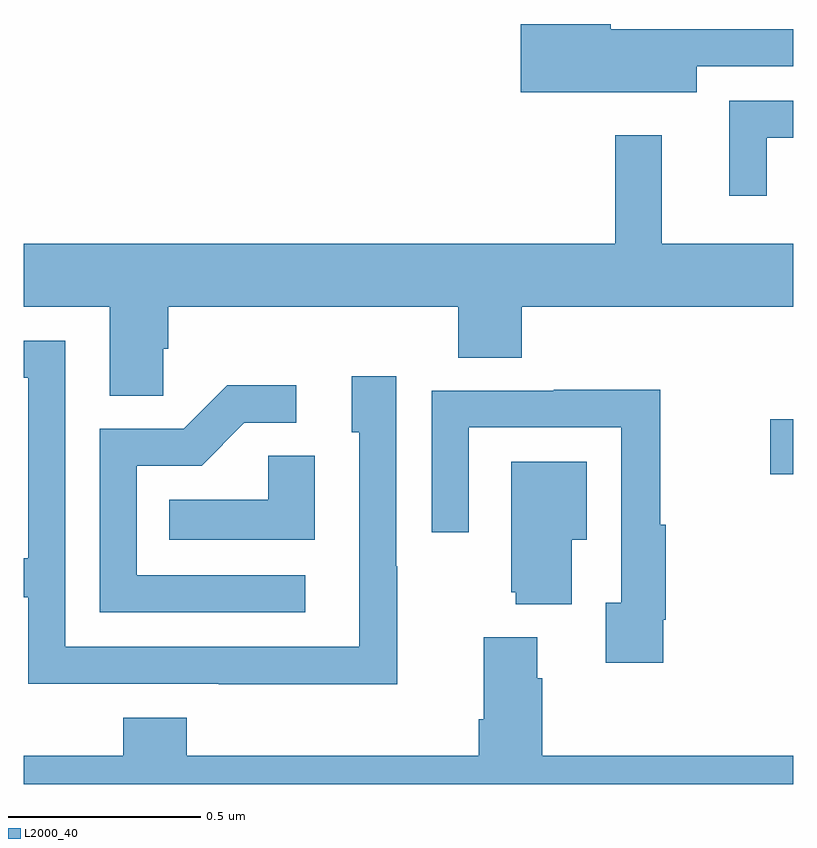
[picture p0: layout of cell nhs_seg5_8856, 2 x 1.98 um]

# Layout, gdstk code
import gdstk
lib = gdstk.Library(unit=1e-6, precision=1e-09)
def R(c, l, rs):  # rectangles x0, y0, x1, y1
    for r in rs: c.add(gdstk.rectangle(r[:2], r[2:], *l))
def P(c, l, *ps):  # polygons
    for p in ps: c.add(gdstk.Polygon(p, *l))
L2000_40 = (2000, 40)

nhs_seg5_8856 = lib.new_cell('nhs_seg5_8856')
R(nhs_seg5_8856, L2000_40, [(227.94,909.605,228,909.747)])
P(nhs_seg5_8856, L2000_40, [(227.749,910.665),(228,910.665),(228,910.761),(227.745,910.761),(227.745,910.762),(227.526,910.762),(227.526,910.775),(227.292,910.775),(227.292,910.597),(227.749,910.597)],
  [(227.932,910.479),(228,910.479),(228,910.575),(227.834,910.575),(227.834,910.329),(227.932,910.329)],
  [(226.362,909.931),(226.376,909.931),(226.376,910.04),(227.129,910.04),(227.129,909.907),(227.294,909.907),(227.294,910.04),(228,910.04),(228,910.204),(227.659,910.204),(227.659,910.486),(227.538,910.486),(227.538,910.204),(226,910.204),(226,910.04),(226.223,910.04),(226.223,909.808),(226.362,909.808)],
  [(226.971,909.365),(226.968,909.365),(226.968,909.859),(226.853,909.859),(226.853,909.714),(226.872,909.714),(226.872,909.156),(226.107,909.156),(226.107,909.951),(226,909.951),(226,909.855),(226.011,909.855),(226.011,909.386),(226,909.386),(226,909.285),(226.011,909.285),(226.011,909.06),(226.507,909.06),(226.507,909.059),(226.971,909.059)],
  [(226.732,909.342),(226.293,909.342),(226.293,909.627),(226.462,909.627),(226.573,909.738),(226.708,909.738),(226.708,909.836),(226.529,909.836),(226.416,909.723),(226.197,909.723),(226.197,909.246),(226.732,909.246)],
  [(227.662,909.226),(227.669,909.226),(227.669,909.473),(227.654,909.473),(227.654,909.824),(227.377,909.824),(227.377,909.822),(227.061,909.822),(227.061,909.453),(227.157,909.453),(227.157,909.726),(227.553,909.726),(227.553,909.27),(227.513,909.27),(227.513,909.114),(227.662,909.114)],
  [(226.756,909.653),(226.635,909.653),(226.635,909.538),(226.378,909.538),(226.378,909.434),(226.756,909.434)],
  [(227.425,909.434),(227.464,909.434),(227.464,909.637),(227.267,909.637),(227.267,909.297),(227.279,909.297),(227.279,909.266),(227.425,909.266)],
  [(228,908.872),(227.348,908.872),(227.348,909.074),(227.335,909.074),(227.335,909.181),(227.195,909.181),(227.195,908.968),(227.183,908.968),(227.183,908.872),(226.424,908.872),(226.424,908.971),(226.259,908.971),(226.259,908.872),(226,908.872),(226,908.799),(228,908.799)])

lib.write_gds('nhs_seg5_8856.gds')
